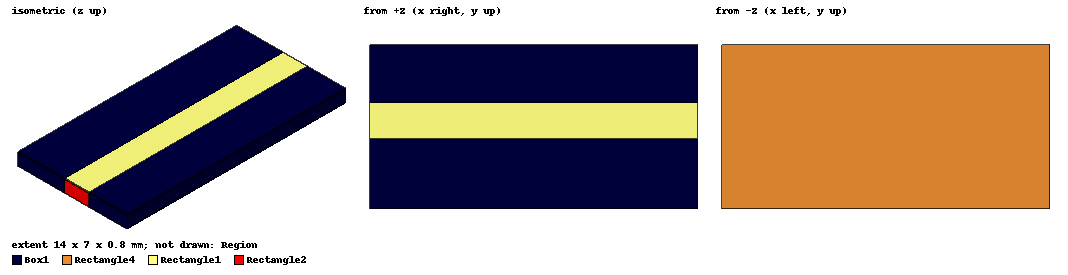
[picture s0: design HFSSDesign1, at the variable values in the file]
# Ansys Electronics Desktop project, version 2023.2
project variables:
  $l = 14mm
  $st = 0.8mm
  $lnewidth = 1.5294875mm
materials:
  vacuum: permittivity=1
  FR4_epoxy: permittivity=4.4 dielectric_loss_tangent=0.02
  air: permittivity=1.0006 permeability=1.0000004

design HFSSDesign1 (HFSS, HFSS Modal Network, model units mm)
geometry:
  Rectangle1 = rectangle(corner=(0mm, 0mm, 0mm), x_size=$l, y_size=$lnewidth)
  Box1 [FR4_epoxy] = box(corner=(0mm, -3mm, 0mm), size=($l, 7mm, -$st))
  Rectangle2 = rectangle(corner=($l, 0mm, 0mm), y_size=$lnewidth, z_size=-$st)
  Rectangle3 = rectangle(corner=(0mm, 1.5294875mm, 0mm), y_size=-$lnewidth, z_size=-$st)
  Rectangle4 = rectangle(corner=(0mm, -3mm, -$st), x_size=$l, y_size=7mm)
  Region [air] = region(absolute_offset=10mm on all sides)
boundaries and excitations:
  PerfE1: Perfect E Objects=[Rectangle1, Rectangle4]
  1: Lumped Port Objects=Rectangle2 LumpedPortType=Modal Modes{Mode1{IntLine{(14, 0.7, -0.8) -> (14, 0.7, 0)} CharImp=Zpi RenormImp=50ohm}} Impedance=50ohm
  2: Lumped Port Objects=Rectangle3 LumpedPortType=Modal Modes{Mode1{IntLine{(0, 0.75, 0) -> (0, 0.75, -0.8)} CharImp=Zpi RenormImp=50ohm}} Impedance=50ohm
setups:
  Setup1: HfssDriven Frequency=0.868GHz MaxDeltaS=0.02 MaximumPasses=10 MinimumPasses=1 MinimumConvergedPasses=1 PercentRefinement=30 BasisOrder=1 PortAccuracy=2 DrivenSolverType="Direct Solver"
    sweep Sweep: 0.434GHz to 1.302GHz, 401 points; Type=Interpolating InterpTolerance=0.5 InterpMaxSolns=250 InterpUsePortImped=false PassivityErrorTolerance=0.0001
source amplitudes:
  1:1: 1V 0deg
  2:1: 0V 0deg
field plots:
  Mag_E1: E Field on Setup1 : LastAdaptive at Freq=0.868GHz Phase=0deg
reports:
  Z Parameter Plot 4: mag(Z(1,1)) vs Freq on Setup1 : Sweep; markers MX1 at x=8.7034574e+08, MY1 at y=50.0287
  Z Parameter Plot 5: mag(Z(2,1)) vs Freq on Setup1 : Sweep; markers MX1 at x=8.6752762e+08, MY1 at y=49.9426
  S Parameter Plot 1: dB(S(1,1)) vs Freq on Setup1 : Sweep; markers MX1 at x=8.6968085e+08
  Z Parameter Plot 6: im(Z(1,1)) vs Freq on Setup1 : Sweep [$l=all]; markers MX1 at x=8.6878679e+08
  Z Parameter Plot 7: dB20(Z(2,1)) vs Freq on Setup1 : Sweep [$l=all]
  Z Parameter Plot 8: re(Z(2,1)) vs Freq on Setup1 : Sweep [$l=all]; markers MX1 at x=8.6842105e+08
